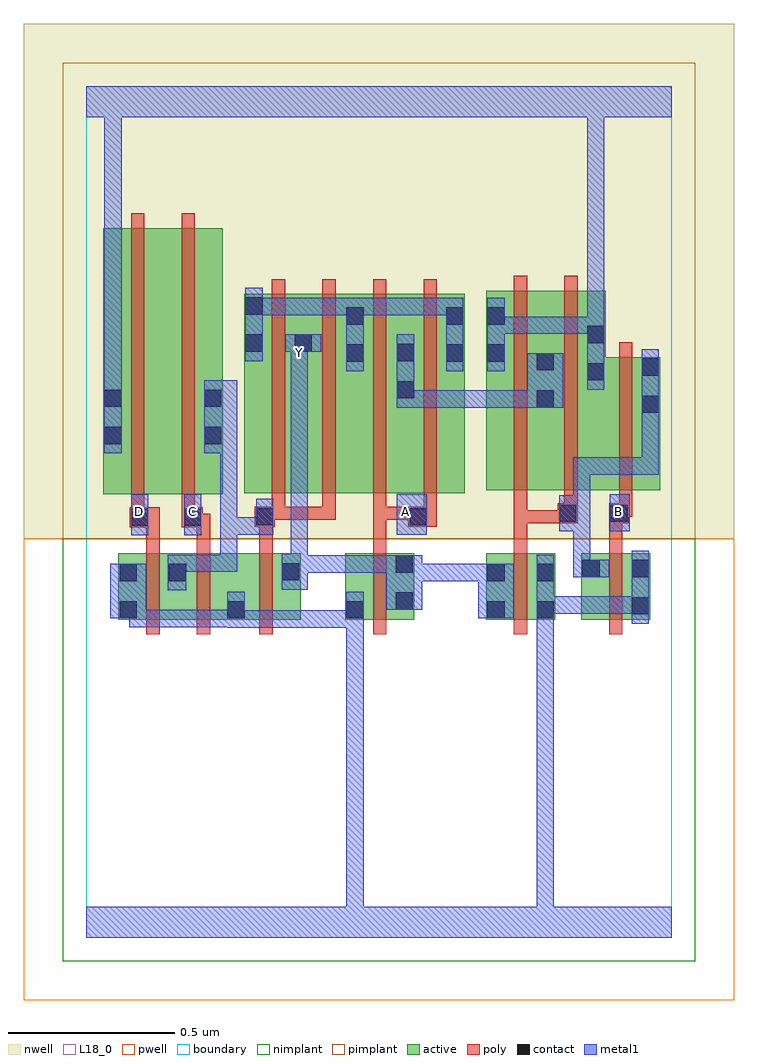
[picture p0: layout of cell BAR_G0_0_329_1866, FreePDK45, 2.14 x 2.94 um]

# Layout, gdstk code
import gdstk
lib = gdstk.Library(unit=1e-6, precision=1e-09)
def R(c, l, rs):  # rectangles x0, y0, x1, y1
    for r in rs: c.add(gdstk.rectangle(r[:2], r[2:], *l))
def A(c, l, x, y, w, h, nx, ny, dx, dy):  # array of equal rectangles
    R(c, l, [(x+i*dx, y+j*dy, x+i*dx+w, y+j*dy+h) for i in range(nx) for j in range(ny)])
active = (1, 0)
pwell = (2, 0)
nwell = (3, 0)
nimplant = (4, 0)
pimplant = (5, 0)
poly = (9, 0)
contact = (10, 0)
metal1 = (11, 0)
L18_0 = (18, 0)
boundary = (235, 0)

bar_g0_0_329_1866 = lib.new_cell('BAR_G0_0_329_1866')
R(bar_g0_0_329_1866, active, [(0.096,0.956,0.156,1.156), (0.096,0.956,0.304,1.156), (0.244,0.956,0.304,1.156), (0.244,0.956,0.48,1.156), (0.42,0.956,0.48,1.156), (0.42,0.956,0.644,1.156), (0.584,0.956,0.644,1.156), (0.778,0.956,0.838,1.156), (0.778,0.956,0.986,1.156), (0.926,0.956,0.986,1.156), (1.202,0.956,1.262,1.156), (1.202,0.956,1.41,1.156), (1.35,0.956,1.41,1.156), (1.488,0.956,1.548,1.156), (1.488,0.956,1.696,1.156), (1.636,0.956,1.696,1.156), (0.05,1.334,0.11,2.044), (0.05,1.334,0.23,2.134), (0.23,1.334,0.41,2.134), (0.35,1.334,0.41,2.044), (0.474,1.336,0.682,1.936), (0.474,1.336,0.534,1.93), (0.622,1.336,0.682,1.844), (0.622,1.336,0.838,1.936), (0.778,1.336,0.99,1.936), (0.778,1.336,0.838,1.9), (0.93,1.336,1.138,1.936), (0.93,1.336,0.99,1.844), (1.078,1.336,1.138,1.9), (1.202,1.346,1.41,1.946), (1.202,1.346,1.262,1.946), (1.35,1.346,1.41,1.844), (1.35,1.346,1.562,1.946), (1.502,1.346,1.726,1.746), (1.502,1.346,1.562,1.844), (1.666,1.346,1.726,1.746)])
R(bar_g0_0_329_1866, pwell, [(-0.188,-0.188,1.948,1.2)])
R(bar_g0_0_329_1866, nwell, [(-0.188,1.2,1.948,2.748)])
R(bar_g0_0_329_1866, nimplant, [(-0.072,-0.072,1.832,1.2)])
R(bar_g0_0_329_1866, pimplant, [(-0.072,1.2,1.832,2.632)])
A(bar_g0_0_329_1866, poly, 0.558, 1.256, 0.04, 0.076, 4, 1, 0.152, 0)
A(bar_g0_0_329_1866, poly, 0.558, 1.292, 0.04, 0.688, 4, 1, 0.152, 0)
R(bar_g0_0_329_1866, poly, [(0.18,0.912,0.22,1.2), (0.332,0.912,0.372,1.2), (0.52,0.912,0.56,1.2), (0.862,0.912,0.902,1.2), (1.286,0.912,1.326,1.2), (1.572,0.912,1.612,1.2), (0.18,1.16,0.22,1.274), (0.332,1.16,0.372,1.274), (0.52,1.16,0.56,1.276), (0.862,1.16,0.902,1.296), (1.286,1.16,1.326,1.286), (1.572,1.16,1.612,1.286), (0.13,1.234,0.22,1.294), (0.286,1.234,0.35,1.294), (0.31,1.234,0.35,1.274), (0.31,1.234,0.372,1.274), (0.506,1.236,0.566,1.296), (0.968,1.236,1.054,1.296), (1.286,1.246,1.326,1.286), (1.286,1.246,1.326,1.286), (1.286,1.246,1.326,1.286), (1.286,1.246,1.326,1.286), (1.286,1.246,1.326,1.286), (1.286,1.246,1.458,1.286), (1.286,1.246,1.326,1.342), (1.418,1.246,1.478,1.306), (1.572,1.246,1.632,1.306), (0.134,1.254,0.174,1.33), (0.134,1.254,0.174,1.294), (0.134,1.254,0.174,1.294), (0.286,1.254,0.326,1.33), (0.526,1.256,0.566,1.296), (0.526,1.256,0.598,1.296), (0.558,1.256,0.75,1.296), (0.71,1.256,0.75,1.296), (0.71,1.256,0.75,1.296), (0.71,1.256,0.75,1.296), (0.862,1.256,0.902,1.296), (0.862,1.256,0.902,1.296), (0.862,1.256,0.902,1.296), (0.862,1.256,0.902,1.296), (0.862,1.256,0.902,1.296), (0.862,1.256,1.008,1.296), (1.438,1.266,1.478,1.342), (1.592,1.266,1.632,1.306), (1.592,1.266,1.642,1.306), (1.602,1.266,1.642,1.342), (0.134,1.29,0.174,2.178), (0.286,1.29,0.326,2.178), (1.286,1.302,1.326,1.99), (1.438,1.302,1.478,1.99), (1.602,1.302,1.642,1.79)])
R(bar_g0_0_329_1866, contact, [(0.1,0.96,0.152,1.012), (0.424,0.96,0.476,1.012), (0.782,0.96,0.834,1.012), (1.206,0.96,1.258,1.012), (1.354,0.96,1.406,1.012), (1.64,0.972,1.692,1.024), (0.93,0.986,0.982,1.038), (0.1,1.072,0.152,1.124), (0.248,1.072,0.3,1.124), (1.206,1.072,1.258,1.124), (1.354,1.072,1.406,1.124), (0.588,1.074,0.64,1.126), (1.492,1.084,1.544,1.136), (1.64,1.084,1.692,1.136), (0.93,1.098,0.982,1.15), (0.134,1.238,0.186,1.29), (0.294,1.238,0.346,1.29), (0.51,1.24,0.562,1.292), (0.972,1.24,1.024,1.292), (1.422,1.25,1.474,1.302), (1.576,1.25,1.628,1.302), (0.054,1.484,0.106,1.536), (0.354,1.484,0.406,1.536), (1.67,1.578,1.722,1.63), (1.354,1.594,1.406,1.646), (0.054,1.596,0.106,1.648), (0.354,1.596,0.406,1.648), (0.934,1.622,0.986,1.674), (1.506,1.676,1.558,1.728), (1.67,1.69,1.722,1.742), (1.354,1.706,1.406,1.758), (0.782,1.732,0.834,1.784), (1.082,1.732,1.134,1.784), (1.206,1.732,1.258,1.784), (0.934,1.734,0.986,1.786), (0.478,1.762,0.53,1.814), (0.626,1.762,0.678,1.814), (1.506,1.788,1.558,1.84), (0.782,1.844,0.834,1.896), (1.082,1.844,1.134,1.896), (1.206,1.844,1.258,1.896), (0.478,1.874,0.53,1.926)])
R(bar_g0_0_329_1866, metal1, [(0,0,1.76,0.092), (0.782,0.04,0.834,0.092), (0.782,0.04,0.834,0.092), (0.782,0.04,0.834,0.092), (0.782,0.04,0.834,0.092), (0.782,0.04,0.834,0.984), (1.354,0.04,1.406,0.984), (0.424,0.932,0.476,1.04), (0.424,0.932,0.564,0.984), (0.512,0.932,0.564,0.984), (0.512,0.932,0.724,0.984), (0.672,0.932,0.724,0.984), (0.672,0.932,0.75,0.984), (0.698,0.932,0.75,0.984), (0.698,0.932,0.834,0.984), (0.782,0.932,0.834,0.984), (0.782,0.932,0.834,0.984), (0.782,0.932,0.834,0.984), (0.782,0.932,0.834,0.984), (0.782,0.932,0.834,0.984), (0.782,0.932,0.834,0.984), (0.782,0.932,0.834,0.984), (0.782,0.932,0.834,0.984), (0.782,0.932,0.834,0.984), (0.782,0.932,0.834,0.984), (0.782,0.932,0.834,0.984), (0.782,0.932,0.834,0.984), (0.782,0.932,0.834,1.04), (1.354,0.932,1.406,1.152), (1.354,0.932,1.406,0.984), (1.354,0.932,1.406,0.984), (1.354,0.932,1.406,0.984), (1.354,0.932,1.406,0.984), (1.354,0.932,1.406,0.984), (1.354,0.932,1.406,0.984), (1.354,0.932,1.406,0.984), (1.354,0.932,1.406,0.984), (1.354,0.932,1.406,0.984), (1.354,0.932,1.406,0.984), (1.354,0.932,1.406,0.984), (1.354,0.932,1.406,0.984), (1.354,0.932,1.406,0.984), (1.354,0.932,1.406,0.984), (1.354,0.932,1.406,0.984), (1.354,0.932,1.406,0.984), (0.128,0.934,0.296,0.986), (0.128,0.934,0.18,1.012), (0.244,0.934,0.296,0.986), (0.244,0.934,0.296,0.986), (0.244,0.934,0.296,0.986), (0.244,0.934,0.406,0.986), (0.354,0.934,0.406,0.986), (0.354,0.934,0.476,0.986), (1.64,0.944,1.692,1.164), (0.072,0.96,0.18,1.124), (0.128,0.96,0.18,1.012), (1.178,0.96,1.286,1.124), (1.354,0.974,1.516,1.026), (1.464,0.974,1.516,1.026), (1.464,0.974,1.516,1.026), (1.464,0.974,1.516,1.026), (1.464,0.974,1.692,1.026), (1.64,0.974,1.692,1.026), (1.64,0.974,1.692,1.026), (0.902,0.986,1.01,1.15), (0.244,1.044,0.3,1.152), (0.588,1.046,0.666,1.154), (0.958,1.072,1.01,1.124), (0.958,1.072,1.01,1.124), (0.958,1.072,1.23,1.124), (1.178,1.072,1.23,1.124), (1.178,1.072,1.23,1.124), (1.464,1.084,1.516,1.33), (1.464,1.084,1.572,1.136), (0.614,1.098,0.75,1.15), (0.698,1.098,0.75,1.15), (0.698,1.098,0.844,1.15), (0.792,1.098,0.844,1.15), (0.792,1.098,0.86,1.15), (0.808,1.098,0.86,1.15), (0.808,1.098,0.954,1.15), (0.244,1.1,0.296,1.152), (0.244,1.1,0.296,1.152), (0.244,1.1,0.296,1.152), (0.244,1.1,0.296,1.152), (0.244,1.1,0.454,1.152), (0.402,1.1,0.454,1.264), (0.614,1.102,0.666,1.758), (0.134,1.21,0.186,1.334), (0.294,1.21,0.346,1.334), (0.402,1.212,0.454,1.264), (0.402,1.212,0.454,1.264), (0.402,1.212,0.456,1.264), (0.402,1.212,0.454,1.508), (0.404,1.212,0.456,1.264), (0.404,1.212,0.562,1.264), (0.51,1.212,0.562,1.32), (0.934,1.212,1.024,1.334), (1.422,1.222,1.474,1.33), (1.574,1.222,1.634,1.334), (1.422,1.278,1.516,1.33), (1.464,1.278,1.516,1.33), (1.464,1.278,1.516,1.33), (1.464,1.278,1.516,1.444), (1.464,1.392,1.722,1.444), (1.67,1.392,1.722,1.602), (1.67,1.392,1.722,1.444), (1.67,1.392,1.722,1.444), (1.67,1.392,1.722,1.444), (0.054,1.456,0.106,1.676), (0.354,1.456,0.454,1.676), (1.67,1.55,1.722,1.77), (0.934,1.594,0.986,1.814), (0.934,1.594,0.986,1.646), (0.934,1.594,0.986,1.646), (0.934,1.594,1.254,1.646), (1.202,1.594,1.254,1.646), (1.202,1.594,1.254,1.646), (1.202,1.594,1.254,1.646), (1.202,1.594,1.364,1.646), (1.312,1.594,1.364,1.646), (1.312,1.594,1.378,1.646), (1.326,1.594,1.434,1.758), (0.054,1.624,0.106,1.676), (0.054,1.624,0.106,1.676), (0.054,1.624,0.106,1.676), (0.054,1.624,0.106,1.676), (0.054,1.624,0.106,2.52), (1.506,1.648,1.558,1.868), (0.782,1.704,0.834,1.924), (1.082,1.704,1.134,1.924), (1.206,1.704,1.258,1.924), (0.614,1.706,0.666,1.814), (0.478,1.734,0.53,1.954), (0.598,1.762,0.706,1.814), (0.614,1.762,0.666,1.814), (0.614,1.762,0.666,1.814), (0.614,1.762,0.666,1.814), (1.206,1.816,1.364,1.868), (1.312,1.816,1.364,1.868), (1.312,1.816,1.368,1.868), (1.316,1.816,1.368,1.868), (1.316,1.816,1.474,1.868), (1.422,1.816,1.474,1.868), (1.422,1.816,1.558,1.868), (1.506,1.816,1.558,1.868), (1.506,1.816,1.558,1.868), (1.506,1.816,1.558,1.868), (1.506,1.816,1.558,1.868), (1.506,1.816,1.558,1.868), (1.506,1.816,1.558,1.868), (1.506,1.816,1.558,2.52), (0.478,1.872,0.64,1.924), (0.588,1.872,0.64,1.924), (0.588,1.872,0.64,1.924), (0.588,1.872,0.64,1.924), (0.588,1.872,0.75,1.924), (0.698,1.872,0.75,1.924), (0.698,1.872,0.834,1.924), (0.782,1.872,0.876,1.924), (0.824,1.872,0.876,1.924), (0.824,1.872,1.024,1.924), (0.972,1.872,1.024,1.924), (0.972,1.872,1.024,1.924), (0.972,1.872,1.024,1.924), (0.972,1.872,1.134,1.924), (0,2.468,1.76,2.56), (0.054,2.468,0.106,2.52), (0.054,2.468,0.106,2.52), (0.054,2.468,0.106,2.52), (0.054,2.468,0.106,2.52), (1.506,2.468,1.558,2.52), (1.506,2.468,1.558,2.52), (1.506,2.468,1.558,2.52), (1.506,2.468,1.558,2.52), (1.506,2.468,1.558,2.52), (1.506,2.468,1.558,2.52)])
A(bar_g0_0_329_1866, L18_0, 0.294, 1.254, 0.052, 0.052, 3, 1, 0.64, 0)
R(bar_g0_0_329_1866, L18_0, [(0,0,1.76,0.092), (0.782,0.04,0.834,0.092), (0.782,0.04,0.834,0.092), (0.782,0.04,0.834,0.092), (0.782,0.04,0.834,0.092), (0.782,0.04,0.834,0.984), (1.354,0.04,1.406,0.984), (0.424,0.932,0.476,1.04), (0.424,0.932,0.564,0.984), (0.512,0.932,0.564,0.984), (0.512,0.932,0.724,0.984), (0.672,0.932,0.724,0.984), (0.672,0.932,0.75,0.984), (0.698,0.932,0.75,0.984), (0.698,0.932,0.834,0.984), (0.782,0.932,0.834,0.984), (0.782,0.932,0.834,0.984), (0.782,0.932,0.834,0.984), (0.782,0.932,0.834,0.984), (0.782,0.932,0.834,0.984), (0.782,0.932,0.834,0.984), (0.782,0.932,0.834,0.984), (0.782,0.932,0.834,0.984), (0.782,0.932,0.834,0.984), (0.782,0.932,0.834,0.984), (0.782,0.932,0.834,0.984), (0.782,0.932,0.834,0.984), (0.782,0.932,0.834,1.04), (1.354,0.932,1.406,1.152), (1.354,0.932,1.406,0.984), (1.354,0.932,1.406,0.984), (1.354,0.932,1.406,0.984), (1.354,0.932,1.406,0.984), (1.354,0.932,1.406,0.984), (1.354,0.932,1.406,0.984), (1.354,0.932,1.406,0.984), (1.354,0.932,1.406,0.984), (1.354,0.932,1.406,0.984), (1.354,0.932,1.406,0.984), (1.354,0.932,1.406,0.984), (1.354,0.932,1.406,0.984), (1.354,0.932,1.406,0.984), (1.354,0.932,1.406,0.984), (1.354,0.932,1.406,0.984), (1.354,0.932,1.406,0.984), (0.128,0.934,0.18,1.012), (0.128,0.934,0.296,0.986), (0.244,0.934,0.296,0.986), (0.244,0.934,0.296,0.986), (0.244,0.934,0.296,0.986), (0.244,0.934,0.406,0.986), (0.354,0.934,0.406,0.986), (0.354,0.934,0.476,0.986), (1.64,0.944,1.692,1.164), (0.072,0.96,0.18,1.124), (0.128,0.96,0.18,1.012), (1.178,0.96,1.286,1.124), (1.354,0.974,1.516,1.026), (1.464,0.974,1.516,1.026), (1.464,0.974,1.516,1.026), (1.464,0.974,1.516,1.026), (1.464,0.974,1.692,1.026), (1.64,0.974,1.692,1.026), (1.64,0.974,1.692,1.026), (0.902,0.986,1.01,1.15), (0.588,1.046,0.666,1.154), (0.958,1.072,1.01,1.124), (0.958,1.072,1.01,1.124), (0.958,1.072,1.23,1.124), (1.178,1.072,1.23,1.124), (1.178,1.072,1.23,1.124), (0.614,1.098,0.75,1.15), (0.698,1.098,0.75,1.15), (0.698,1.098,0.844,1.15), (0.792,1.098,0.844,1.15), (0.792,1.098,0.86,1.15), (0.808,1.098,0.86,1.15), (0.808,1.098,0.954,1.15), (0.614,1.102,0.666,1.758), (0.134,1.21,0.186,1.334), (0.294,1.21,0.346,1.334), (0.934,1.212,1.024,1.334), (1.574,1.222,1.634,1.334), (0.134,1.254,0.186,1.306), (0.054,1.456,0.106,1.676), (0.054,1.624,0.106,1.676), (0.054,1.624,0.106,1.676), (0.054,1.624,0.106,1.676), (0.054,1.624,0.106,1.676), (0.054,1.624,0.106,2.52), (1.506,1.648,1.558,1.868), (1.206,1.704,1.258,1.924), (0.614,1.706,0.666,1.814), (0.614,1.734,0.666,1.786), (0.598,1.762,0.706,1.814), (0.614,1.762,0.666,1.814), (0.614,1.762,0.666,1.814), (0.614,1.762,0.666,1.814), (1.206,1.816,1.364,1.868), (1.312,1.816,1.364,1.868), (1.312,1.816,1.368,1.868), (1.316,1.816,1.368,1.868), (1.316,1.816,1.474,1.868), (1.422,1.816,1.474,1.868), (1.422,1.816,1.558,1.868), (1.506,1.816,1.558,1.868), (1.506,1.816,1.558,1.868), (1.506,1.816,1.558,1.868), (1.506,1.816,1.558,1.868), (1.506,1.816,1.558,1.868), (1.506,1.816,1.558,1.868), (1.506,1.816,1.558,2.52), (0,2.468,1.76,2.56), (0.054,2.468,0.106,2.52), (0.054,2.468,0.106,2.52), (0.054,2.468,0.106,2.52), (0.054,2.468,0.106,2.52), (1.506,2.468,1.558,2.52), (1.506,2.468,1.558,2.52), (1.506,2.468,1.558,2.52), (1.506,2.468,1.558,2.52), (1.506,2.468,1.558,2.52), (1.506,2.468,1.558,2.52)])
R(bar_g0_0_329_1866, boundary, [(0,0,1.76,2.56)])
bar_g0_0_329_1866.add(gdstk.Label('A', (0.96,1.28), layer=11, texttype=0))
bar_g0_0_329_1866.add(gdstk.Label('B', (1.6,1.28), layer=11, texttype=0))
bar_g0_0_329_1866.add(gdstk.Label('C', (0.32,1.28), layer=11, texttype=0))
bar_g0_0_329_1866.add(gdstk.Label('D', (0.16,1.28), layer=11, texttype=0))
bar_g0_0_329_1866.add(gdstk.Label('Y', (0.64,1.76), layer=11, texttype=0))

lib.write_gds('BAR_G0_0_329_1866.gds')
